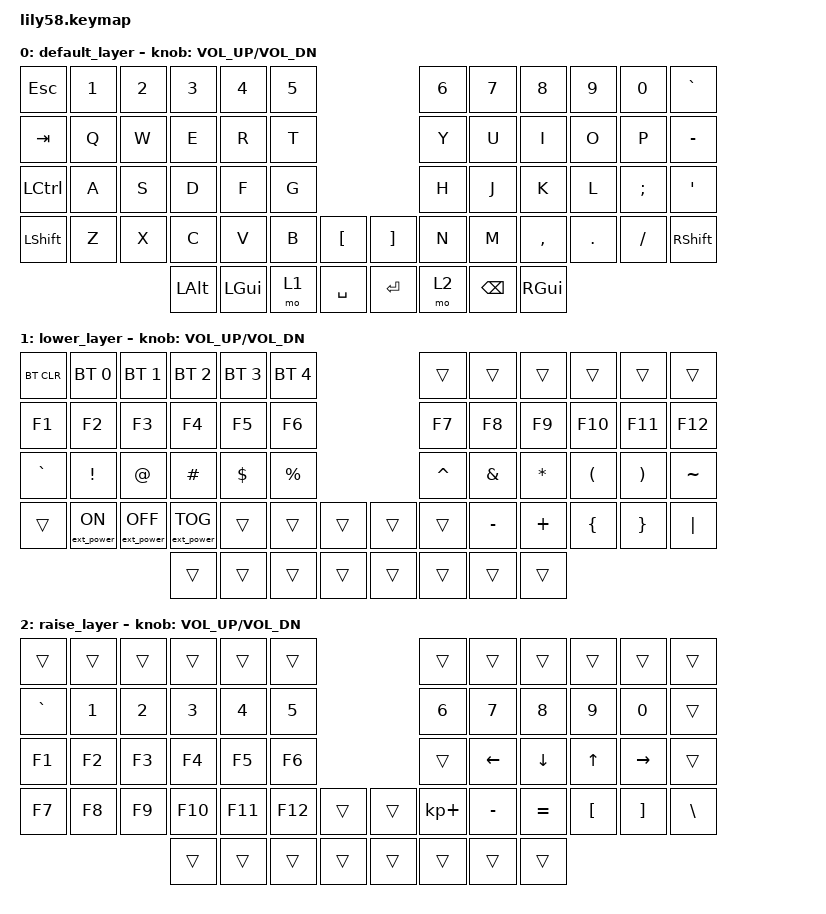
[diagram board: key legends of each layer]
/*
 * Copyright (c) 2020 The ZMK Contributors
 *
 * SPDX-License-Identifier: MIT
 */

#include <behaviors.dtsi>
#include <dt-bindings/zmk/keys.h>
#include <dt-bindings/zmk/bt.h>
#include <dt-bindings/zmk/ext_power.h>
#include "zmk-helpers/key-labels/36.h"                                      // Source key-labels.
#define KEYS_L LT0 LT1 LT2 LT3 LT4 LM0 LM1 LM2 LM3 LM4 LB0 LB1 LB2 LB3 LB4  // Left-hand keys.
#define KEYS_R RT0 RT1 RT2 RT3 RT4 RM0 RM1 RM2 RM3 RM4 RB0 RB1 RB2 RB3 RB4  // Right-hand keys.
#define THUMBS LH2 LH1 LH0 RH0 RH1 RH2                                      // Thumb keys.

/* Left-hand HRMs. */
ZMK_HOLD_TAP(hml,
    flavor = "balanced";
    tapping-term-ms = <280>;
    quick-tap-ms = <175>;
    require-prior-idle-ms = <150>;
    bindings = <&kp>, <&kp>;
    hold-trigger-key-positions = <KEYS_R THUMBS>;
    hold-trigger-on-release;
)

/* Right-hand HRMs. */
ZMK_HOLD_TAP(hmr,
    flavor = "balanced";
    tapping-term-ms = <280>;
    quick-tap-ms = <175>;
    require-prior-idle-ms = <150>;
    bindings = <&kp>, <&kp>;
    hold-trigger-key-positions = <KEYS_L THUMBS>;
    hold-trigger-on-release;
)

/ {
    keymap {
        compatible = "zmk,keymap";

        default_layer {
// ------------------------------------------------------------------------------------------------------------
// |  ESC  |  1  |  2  |  3   |  4   |  5   |                   |  6   |  7    |  8    |  9   |   0   |   `   |
// |  TAB  |  Q  |  W  |  E   |  R   |  T   |                   |  Y   |  U    |  I    |  O   |   P   |   -   |
// |  CTRL |  A  |  S  |  D   |  F   |  G   |                   |  H   |  J    |  K    |  L   |   ;   |   '   |
// | SHIFT |  Z  |  X  |  C   |  V   |  B   |   "["  |  |  "]"  |  N   |  M    |  ,    |  .   |   /   | SHIFT |
//                     | ALT  | GUI  | LOWER|  SPACE |  | ENTER | RAISE| BSPC  | GUI   |
            bindings = <
&kp ESC   &kp N1 &kp N2 &kp N3   &kp N4   &kp N5                     &kp N6 &kp N7   &kp N8    &kp N9  &kp N0   &kp GRAVE
&kp TAB   &kp Q  &kp W  &kp E    &kp R    &kp T                      &kp Y  &kp U    &kp I     &kp O   &kp P    &kp MINUS
&kp LCTRL &kp A  &kp S  &kp D    &kp F    &kp G                      &kp H  &kp J    &kp K     &kp L   &kp SEMI &kp SQT
&kp LSHFT &kp Z  &kp X  &kp C    &kp V    &kp B  &kp LBKT   &kp RBKT &kp N  &kp M    &kp COMMA &kp DOT &kp FSLH &kp RSHFT
                        &kp LALT &kp LGUI &mo 1  &kp SPACE  &kp RET  &mo 2  &kp BSPC &kp RGUI
            >;

            sensor-bindings = <&inc_dec_kp C_VOL_UP C_VOL_DN>;
        };

        lower_layer {
// ------------------------------------------------------------------------------------------------------------
// | BTCLR | BT1 | BT2 |  BT3 |  BT4 |  BT5 |                   |      |       |       |      |       |       |
// |  F1   |  F2 |  F3 |  F4  |  F5  |  F6  |                   |  F7  |  F8   |  F9   |  F10 |  F11  |  F12  |
// |   `   |  !  |  @  |  #   |  $   |  %   |                   |  ^   |  &    |  *    |  (   |   )   |   ~   |
// |       |     |     |      |      |      |        |  |       |      |  _    |  +    |  {   |   }   |  "|"  |
//                     |      |      |      |        |  |       |      |       |       |
            bindings = <
&bt BT_CLR &bt BT_SEL 0     &bt BT_SEL 1      &bt BT_SEL 2      &bt BT_SEL 3 &bt BT_SEL 4                 &trans    &trans    &trans    &trans    &trans    &trans
&kp F1     &kp F2           &kp F3            &kp F4            &kp F5       &kp F6                       &kp F7    &kp F8    &kp F9    &kp F10   &kp F11   &kp F12
&kp GRAVE  &kp EXCL         &kp AT            &kp HASH          &kp DOLLAR   &kp PRCNT                    &kp CARET &kp AMPS  &kp ASTRK &kp LPAR  &kp RPAR  &kp TILDE
&trans     &ext_power EP_ON &ext_power EP_OFF &ext_power EP_TOG &trans       &trans    &trans   &trans    &trans    &kp MINUS &kp PLUS  &kp LBRC  &kp RBRC  &kp PIPE
                                              &trans            &trans       &trans    &trans   &trans    &trans    &trans    &trans
            >;

            sensor-bindings = <&inc_dec_kp C_VOL_UP C_VOL_DN>;
        };

        raise_layer {
// ------------------------------------------------------------------------------------------------------------
// |       |     |     |      |      |      |                   |      |       |       |      |       |       |
// |   `   |  1  |  2  |  3   |  4   |  5   |                   |  6   |   7   |   8   |  9   |   0   |       |
// |   F1  |  F2 |  F3 |  F4  |  F5  |  F6  |                   |      |   <-  |   v   |  ^   |  ->   |       |
// |   F7  |  F8 |  F9 |  F10 |  F11 |  F12 |        |  |       |  +   |   -   |   =   |  [   |   ]   |   \   |
//                     |      |      |      |        |  |       |      |       |       |
            bindings = <
&trans    &trans &trans &trans  &trans  &trans                       &trans      &trans    &trans    &trans   &trans    &trans
&kp GRAVE &kp N1 &kp N2 &kp N3  &kp N4  &kp N5                       &kp N6      &kp N7    &kp N8    &kp N9   &kp N0    &trans
&kp F1    &kp F2 &kp F3 &kp F4  &kp F5  &kp F6                       &trans      &kp LEFT  &kp DOWN  &kp UP   &kp RIGHT &trans
&kp F7    &kp F8 &kp F9 &kp F10 &kp F11 &kp F12   &trans   &trans    &kp KP_PLUS &kp MINUS &kp EQUAL &kp LBKT &kp RBKT  &kp BSLH
                        &trans  &trans  &trans    &trans   &trans    &trans      &trans    &trans
            >;

            sensor-bindings = <&inc_dec_kp C_VOL_UP C_VOL_DN>;
        };
    };
};
